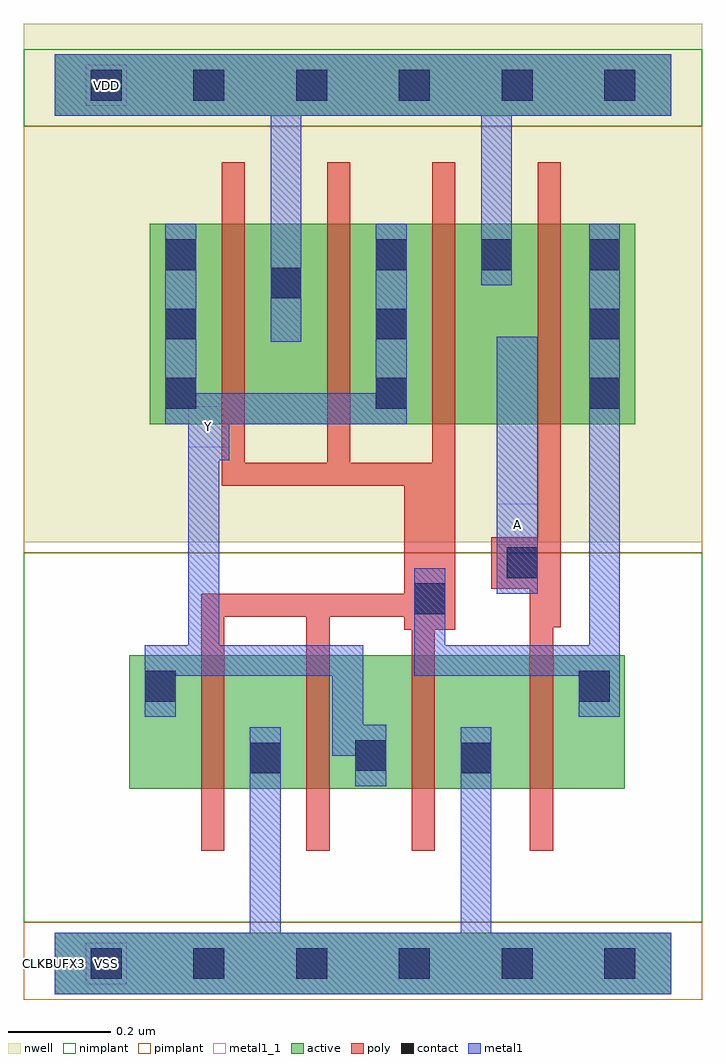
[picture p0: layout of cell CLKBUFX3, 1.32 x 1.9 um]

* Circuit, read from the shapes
.subckt CLKBUFX3 A VDD VSS Y
M1 VSS n1 Y VSS nfet w=0.26u l=0.045u m=3
M2 n1 A VSS VSS nfet w=0.26u l=0.045u
M3 VDD n1 Y VDD pfet w=0.39u l=0.045u m=3
M4 n1 A VDD VDD pfet w=0.39u l=0.045u
.ends

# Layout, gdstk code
import gdstk
lib = gdstk.Library(unit=1e-6, precision=5e-10)
def R(c, l, rs):  # rectangles x0, y0, x1, y1
    for r in rs: c.add(gdstk.rectangle(r[:2], r[2:], *l))
def A(c, l, x, y, w, h, nx, ny, dx, dy):  # array of equal rectangles
    R(c, l, [(x+i*dx, y+j*dy, x+i*dx+w, y+j*dy+h) for i in range(nx) for j in range(ny)])
def P(c, l, *ps):  # polygons
    for p in ps: c.add(gdstk.Polygon(p, *l))
active = (1, 0)
nwell = (2, 0)
poly = (3, 0)
nimplant = (4, 0)
pimplant = (5, 0)
contact = (6, 0)
metal1 = (7, 0)
metal1_1 = (7, 1)

clkbufx3 = lib.new_cell('CLKBUFX3')
R(clkbufx3, active, [(0,-0.06,1.2,0.06), (0.145,0.34,1.11,0.6), (0.185,1.05,1.13,1.44), (0,1.65,1.2,1.77)])
R(clkbufx3, nwell, [(-0.06,0.82,1.26,1.83)])
P(clkbufx3, poly, [(0.325,1.56),(0.37,1.56),(0.37,0.975),(0.53,0.975),(0.53,1.56),(0.575,1.56),(0.575,0.975),(0.735,0.975),(0.735,1.56),(0.78,1.56),(0.78,0.65),(0.74,0.65),(0.74,0.22),(0.695,0.22),(0.695,0.65),(0.68,0.65),(0.68,0.675),(0.535,0.675),(0.535,0.22),(0.49,0.22),(0.49,0.675),(0.33,0.675),(0.33,0.22),(0.285,0.22),(0.285,0.72),(0.68,0.72),(0.68,0.93),(0.325,0.93)],
  [(0.94,1.56),(0.985,1.56),(0.985,0.655),(0.97,0.655),(0.97,0.22),(0.925,0.22),(0.925,0.73),(0.85,0.73),(0.85,0.83),(0.94,0.83)])
R(clkbufx3, nimplant, [(-0.06,0.08,1.26,0.8), (-0.06,1.63,1.26,1.78)])
R(clkbufx3, pimplant, [(-0.06,-0.07,1.26,0.08), (-0.06,0.8,1.26,1.63)])
A(clkbufx3, contact, 0.07, -0.03, 0.06, 0.06, 6, 2, 0.2, 1.71)
A(clkbufx3, contact, 0.215, 1.08, 0.06, 0.06, 1, 3, 0, 0.135)
A(clkbufx3, contact, 0.625, 1.08, 0.06, 0.06, 1, 3, 0, 0.135)
A(clkbufx3, contact, 1.04, 1.08, 0.06, 0.06, 1, 3, 0, 0.135)
R(clkbufx3, contact, [(0.38,0.37,0.44,0.43), (0.79,0.37,0.85,0.43), (0.585,0.375,0.645,0.435), (0.175,0.51,0.235,0.57), (1.02,0.51,1.08,0.57), (0.7,0.68,0.76,0.74), (0.88,0.75,0.94,0.81), (0.42,1.295,0.48,1.355), (0.83,1.35,0.89,1.41)])
R(clkbufx3, metal1, [(0.86,0.72,0.94,1.22)])
P(clkbufx3, metal1, [(0.38,0.46),(0.44,0.46),(0.44,0.06),(0.79,0.06),(0.79,0.46),(0.85,0.46),(0.85,0.06),(1.2,0.06),(1.2,-0.06),(0,-0.06),(0,0.06),(0.38,0.06)],
  [(0,1.77),(1.2,1.77),(1.2,1.65),(0.89,1.65),(0.89,1.32),(0.83,1.32),(0.83,1.65),(0.48,1.65),(0.48,1.21),(0.42,1.21),(0.42,1.65),(0,1.65)],
  [(0.215,1.44),(0.275,1.44),(0.275,1.11),(0.625,1.11),(0.625,1.44),(0.685,1.44),(0.685,1.05),(0.34,1.05),(0.34,0.98),(0.32,0.98),(0.32,0.62),(0.6,0.62),(0.6,0.465),(0.645,0.465),(0.645,0.345),(0.585,0.345),(0.585,0.405),(0.54,0.405),(0.54,0.56),(0.235,0.56),(0.235,0.48),(0.175,0.48),(0.175,0.62),(0.26,0.62),(0.26,1.05),(0.215,1.05)],
  [(0.7,0.77),(0.76,0.77),(0.76,0.62),(1.04,0.62),(1.04,1.44),(1.1,1.44),(1.1,0.48),(1.02,0.48),(1.02,0.56),(0.7,0.56)])
R(clkbufx3, metal1_1, [(0.06,-0.04,0.14,0.04), (0.86,0.815,0.94,0.895), (0.26,1.005,0.34,1.085), (0.06,1.67,0.14,1.75)])
clkbufx3.add(gdstk.Label('Y', (0.3,1.045), layer=7, texttype=1))
clkbufx3.add(gdstk.Label('A', (0.9,0.855), layer=7, texttype=1))
clkbufx3.add(gdstk.Label('VDD', (0.1,1.71), layer=7, texttype=1))
clkbufx3.add(gdstk.Label('VSS', (0.1,0), layer=7, texttype=1))
clkbufx3.add(gdstk.Label('CLKBUFX3', (0,0), layer=63, texttype=0))

lib.write_gds('CLKBUFX3.gds')
